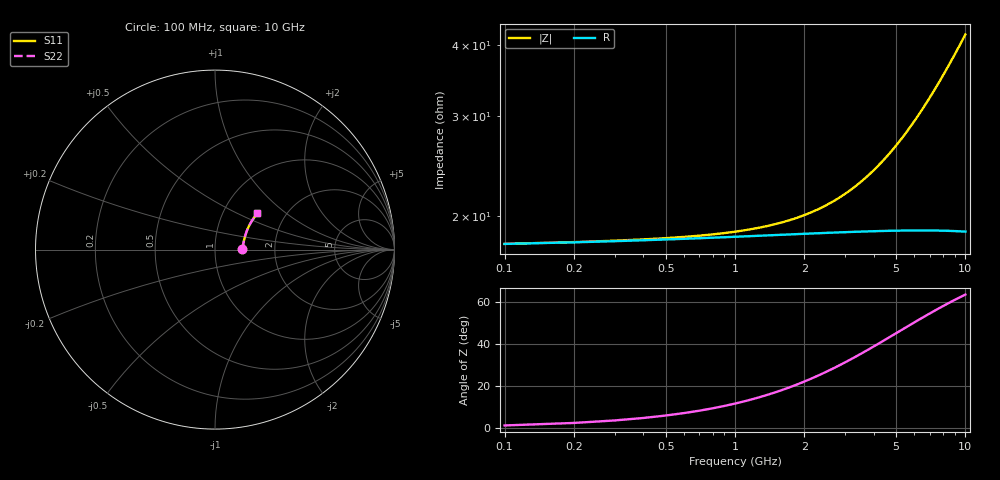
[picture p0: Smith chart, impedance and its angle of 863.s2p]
# Hz S RI R 50.00
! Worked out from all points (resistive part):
!   100 points, 100 MHz to 10 GHz, reference 50 ohm
!   read as one part in series: R = 17.9 ohm at 100 MHz
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1e8  0.1515 0.00231  0.8485 -0.0031  0.8485 -0.0031  0.1515 0.00231
2e8  0.1524 0.0046  0.8476 -0.00619  0.8476 -0.00619  0.1524 0.0046
3e8  0.153 0.00689  0.847 -0.00927  0.847 -0.00927  0.153 0.00689
9e8  0.1558 0.0205  0.8442 -0.0277  0.8442 -0.0277  0.1558 0.0205
1.2e9  0.1569 0.0273  0.843 -0.0368  0.843 -0.0368  0.1569 0.0273
1.5e9  0.1582 0.0341  0.8418 -0.046  0.8418 -0.046  0.1582 0.0341
1.8e9  0.1594 0.0408  0.8404 -0.055  0.8404 -0.055  0.1594 0.0408
2.1e9  0.1608 0.0475  0.839 -0.0641  0.839 -0.0641  0.1608 0.0475
2.5e9  0.1627 0.0563  0.837 -0.0761  0.837 -0.0761  0.1627 0.0563
2.9e9  0.1649 0.0651  0.8348 -0.0881  0.8348 -0.0881  0.1649 0.0651
3.4e9  0.1679 0.076  0.8317 -0.1029  0.8317 -0.1029  0.1679 0.076
4.1e9  0.1726 0.0909  0.8268 -0.1234  0.8268 -0.1234  0.1726 0.0909
4.6e9  0.1763 0.1015  0.8229 -0.1379  0.8229 -0.1379  0.1763 0.1015
5.1e9  0.1804 0.1118  0.8187 -0.1522  0.8187 -0.1522  0.1804 0.1118
5.9e9  0.1877 0.1279  0.8111 -0.1747  0.8111 -0.1747  0.1877 0.1279
6.7e9  0.1957 0.1435  0.8027 -0.1967  0.8027 -0.1967  0.1957 0.1435
7.2e9  0.2011 0.153  0.7971 -0.2101  0.7971 -0.2101  0.2011 0.153
7.6e9  0.2057 0.1604  0.7923 -0.2207  0.7923 -0.2207  0.2057 0.1604
8.4e9  0.2153 0.1747  0.7822 -0.2414  0.7822 -0.2414  0.2153 0.1747
9.2e9  0.2256 0.1883  0.7714 -0.2614  0.7714 -0.2614  0.2256 0.1883
9.6e9  0.231 0.1948  0.7658 -0.2711  0.7658 -0.2711  0.231 0.1948
1e10  0.2366 0.2012  0.76 -0.2807  0.76 -0.2807  0.2366 0.2012
